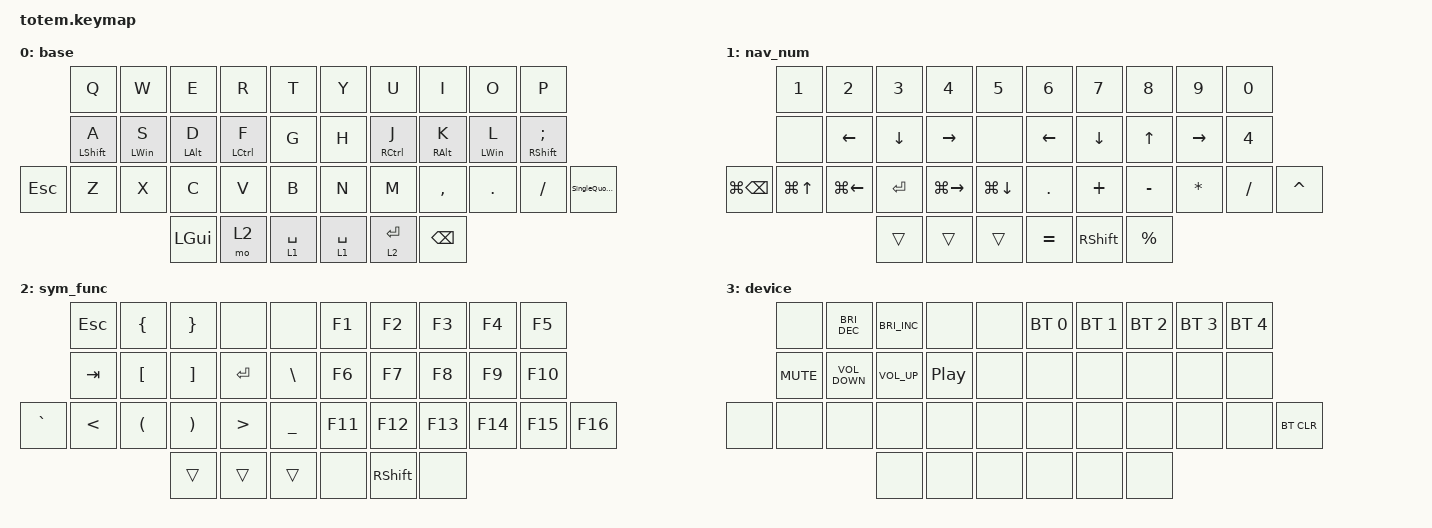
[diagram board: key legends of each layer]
//
//                                                        ▀▀▀▀▀     ▀▀▀▀▀          ▀▀█▀▀
//                                                        ▄▀▀▀▄  ▄  ▄▀▀▀▄  ▄  ▄▀▀▀▄  █  ▄▀▀▀▄
//                                                        █   █  █  █   █  █  █   █  █  █   █
//                                                         ▀▀▀   █   ▀▀▀   █   ▀▀▀   ▀   ▀▀▀
//                                                               █      ▄▄▄█▄▄▄    █   █  
//                                                               ▀      █  █  █     █▄█
//                                                             ▀▀▀▀▀    █  █  █      ▀
//                                                                      ▀  ▀  ▀
//
// ▄▄▄▄▄▄▄▄▄▄▄▄▄▄▄▄▄▄▄▄▄▄▄▄▄▄▄▄▄▄▄▄▄▄▄▄▄▄▄▄▄▄▄▄▄▄▄▄▄▄▄▄▄▄▄▄▄▄▄▄▄▄▄▄▄▄▄▄▄▄▄▄▄▄▄▄▄▄▄▄▄▄▄▄▄▄▄▄▄▄▄▄▄▄▄▄▄▄▄▄▄▄▄▄▄▄▄▄▄▄▄▄▄▄▄▄▄▄▄▄▄▄▄▄▄▄▄▄▄▄▄▄▄▄▄▄▄▄▄▄▄▄▄▄▄▄▄▄▄

#include <behaviors.dtsi>
#include <dt-bindings/zmk/bt.h>
#include <dt-bindings/zmk/keys.h>

/ {
    behaviors {
        HMRight: HMRight {
            compatible = "zmk,behavior-hold-tap";
            label = "HMRIGHT";
            bindings = <&kp>, <&kp>;

            #binding-cells = <2>;
            tapping-term-ms = <200>;
            hold-trigger-key-positions = <0 1 2 3 4 10 11 12 13 14 20 21 22 23 24 25 32 33 34>;
            hold-trigger-on-release;
            flavor = "tap-preferred";
        };

        HMLeft: HMLeft {
            compatible = "zmk,behavior-hold-tap";
            label = "HMLEFT";
            bindings = <&kp>, <&kp>;

            #binding-cells = <2>;
            tapping-term-ms = <200>;
            hold-trigger-on-release;
            hold-trigger-key-positions = <5 6 7 8 9 15 16 17 18 19 26 27 28 29 30 31 35 36 37>;
            flavor = "tap-preferred";
        };

        SingleQuoteTD: SingleQuoteTD {
            compatible = "zmk,behavior-tap-dance";
            label = "SINGLEQUOTETD";
            #binding-cells = <0>;
            bindings = <&kp SINGLE_QUOTE>, <&kp DOUBLE_QUOTES>;
        };
    };

    combos {
        compatible = "zmk,combos";

        RightEnter {
            bindings = <&kp ENTER>;
            key-positions = <16 17 18>;
        };

        LeftlEnter {
            bindings = <&kp ENTER>;
            key-positions = <11 12 13>;
        };
    };

    keymap {
        compatible = "zmk,keymap";

        base {
            bindings = <
         &kp Q                 &kp W           &kp E               &kp R            &kp T          &kp Y        &kp U             &kp I                 &kp O                &kp P
         &HMLeft LEFT_SHIFT A  &HMLeft LWIN S  &HMLeft LEFT_ALT D  &HMLeft LCTRL F  &kp G          &kp H        &HMRight RCTRL J  &HMRight RIGHT_ALT K  &HMRight LEFT_WIN L  &HMRight RIGHT_SHIFT SEMICOLON
&kp ESC  &kp Z                 &kp X           &kp C               &kp V            &kp B          &kp N        &kp M             &kp COMMA             &kp DOT              &kp FSLH                        &SingleQuoteTD
                                               &kp LGUI            &mo 2            &lt 1 SPACE    &lt 1 SPACE  &lt 2 ENTER       &kp BACKSPACE
            >;
        };

        nav_num {
            bindings = <
                   &kp N1            &kp N2        &kp N3     &kp N4         &kp N5                &kp N6          &kp N7           &kp N8        &kp N9           &kp N0
                   &none             &kp LEFT      &kp DOWN   &kp RIGHT      &none                 &kp LEFT_ARROW  &kp DOWN_ARROW   &kp UP_ARROW  &kp RIGHT_ARROW  &kp N4
&kp LG(BACKSPACE)  &kp LG(UP_ARROW)  &kp LG(LEFT)  &kp ENTER  &kp LG(RIGHT)  &kp LG(DOWN_ARROW)    &kp PERIOD      &kp PLUS         &kp MINUS     &kp STAR         &kp FSLH  &kp CARET
                                                   &trans     &trans         &trans                &kp EQUAL       &kp RIGHT_SHIFT  &kp PERCENT
            >;
        };

        sym_func {
            bindings = <
           &kp ESC        &kp LEFT_BRACE        &kp RIGHT_BRACE        &none             &none             &kp F1   &kp F2           &kp F3   &kp F4   &kp F5
           &kp TAB        &kp LBKT              &kp RBKT               &kp ENTER         &kp BSLH          &kp F6   &kp F7           &kp F8   &kp F9   &kp F10
&kp GRAVE  &kp LESS_THAN  &kp LEFT_PARENTHESIS  &kp RIGHT_PARENTHESIS  &kp GREATER_THAN  &kp UNDERSCORE    &kp F11  &kp F12          &kp F13  &kp F14  &kp F15  &kp F16
                                                &trans                 &trans            &trans            &none    &kp RIGHT_SHIFT  &none
            >;
        };

        device {
            bindings = <
       &none       &kp C_BRIGHTNESS_DEC  &kp C_BRIGHTNESS_INC  &none             &none    &bt BT_SEL 0  &bt BT_SEL 1  &bt BT_SEL 2  &bt BT_SEL 3  &bt BT_SEL 4
       &kp K_MUTE  &kp C_VOLUME_DOWN     &kp C_VOLUME_UP       &kp C_PLAY_PAUSE  &none    &none         &none         &none         &none         &none
&none  &none       &none                 &none                 &none             &none    &none         &none         &none         &none         &none         &bt BT_CLR
                                         &none                 &none             &none    &none         &none         &none
            >;
        };

        extra1 { status = "reserved"; };

        extra3 { status = "reserved"; };
    };

    conditional_layers {
        compatible = "zmk,conditional-layers";

        device {
            if-layers = <1 2>;
            then-layer = <3>;
        };
    };
};
